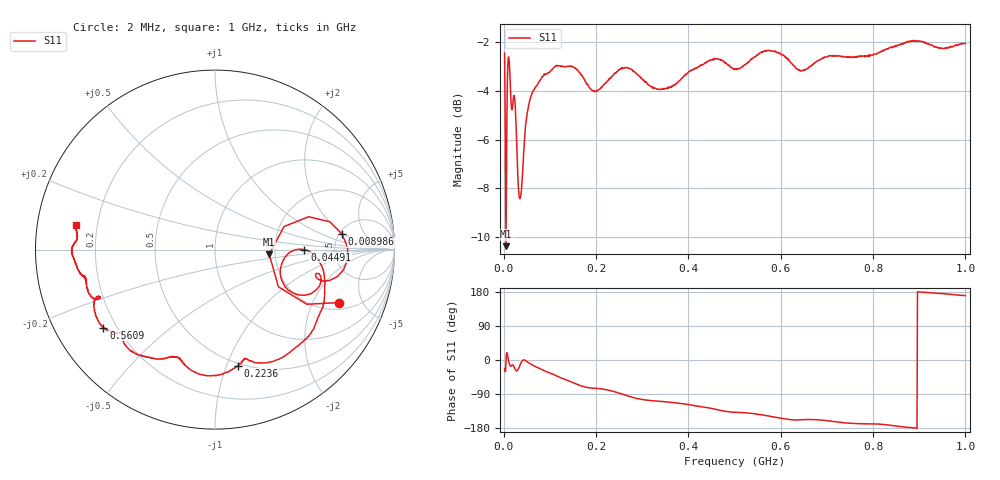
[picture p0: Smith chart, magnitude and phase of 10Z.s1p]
!Keysight Technologies N9923A: A.08.19
!Date: Thursday, 16 January 2020 11:30:00
!TimeZone: (GMT-03:00) Brasilia!Model: N9923A
!Serial: MY51491501
!GPS Latitude:
!GPS Longitude:
!GPS TimeStamp: 0001-01-01 00:00:00Z
!GPS Seconds Since Last Read: 0
!CHECKSUM:1078980270
!Correction: S11(ON U)
!S1P File: Measurement: S11:
# Hz S DB R 50
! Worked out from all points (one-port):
!   1001 points, 2 MHz to 1 GHz, reference 50 ohm
!   lowest |S11| = -10.4 dB at 4.994 MHz (marker M1), VSWR 1.87, Z = 93.1 - j5.36 ohm
!   |S11| at or under -10 dB: 4.855 MHz to 5.138 MHz (282.7 kHz wide, 5.66 % of centre)
!   S11 on the Smith chart (normalised r, x): 2 MHz: 2.39, -3.26; 8.986 MHz: 5.31, +1.85; 44.91 MHz: 2.99, +0.00; 223.6 MHz: 0.48, -1.10; 560.9 MHz: 0.15, -0.31; 1 GHz: 0.12, +0.09
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2000000  -2.46 -23.1
4994000  -10.36 -4.9
8986000  -2.93 6.9
1.2978e7  -3.12 -12.5
1.697e7  -4.72 -15.0
2.695e7  -5.48 -28.4
3.4934e7  -8.42 -14.7
4.4914e7  -6.04 0.0
5.7888e7  -4.29 -10.2
7.7848e7  -3.61 -22.4
1.07788e8  -3.07 -38.2
1.2675e8  -3.01 -48.5
1.54694e8  -3.06 -62.2
1.78646e8  -3.67 -71.8
2.23556e8  -3.63 -78.9
2.515e8  -3.12 -88.0
2.9641e8  -3.47 -103.5
3.7625e8  -3.67 -113.5
4.44114e8  -2.78 -126.4
4.72058e8  -2.75 -133.7
5.01e8  -3.13 -137.8
5.6088e8  -2.40 -145.0
6.2575e8  -2.94 -158.0
6.84632e8  -2.73 -158.1
7.505e8  -2.61 -166.9
8.16368e8  -2.42 -169.5
8.7525e8  -2.00 -177.7
1e9  -2.07 170.0
